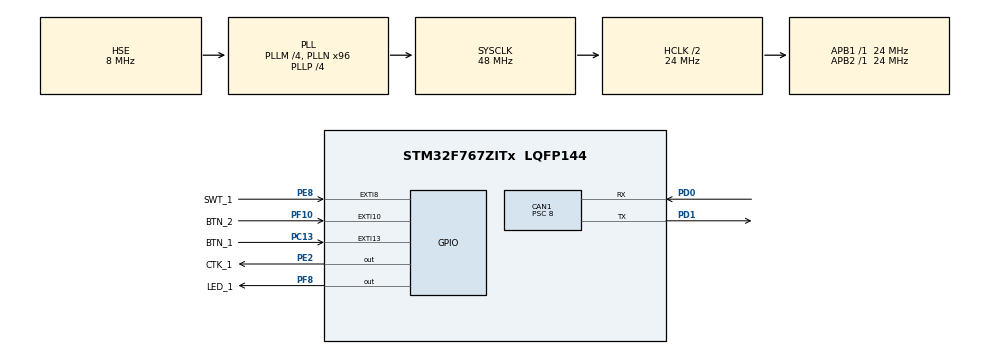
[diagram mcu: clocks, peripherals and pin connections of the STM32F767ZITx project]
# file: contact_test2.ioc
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CAN1.BS1=CAN_BS1_2TQ
CAN1.BS2=CAN_BS2_3TQ
CAN1.CalculateBaudRate=500000
CAN1.CalculateTimeBit=2000
CAN1.CalculateTimeQuantum=333.3333333333333
CAN1.Prescaler=8
CAN1.SJW=CAN_SJW_2TQ
CORTEX_M7.default_mode_Activation=1
Mcu.Family=STM32F7
Mcu.Name=STM32F767ZITx
Mcu.Package=LQFP144
NVIC.CAN1_RX0_IRQn=true\:0\:0\:false\:false\:true\:true\:true\:true
NVIC.EXTI15_10_IRQn=true\:0\:0\:false\:false\:true\:true\:true\:true
NVIC.EXTI9_5_IRQn=true\:0\:0\:false\:false\:true\:true\:true\:true
NVIC.PriorityGroup=NVIC_PRIORITYGROUP_4
PC13.GPIO_Label=BTN_1
PC13.GPIO_ModeDefaultEXTI=GPIO_MODE_IT_FALLING
PC13.GPIO_PuPd=GPIO_PULLUP
PC13.Signal=GPXTI13
PD0.GPIO_PuPd=GPIO_PULLUP
PD0.Mode=CAN_Activate
PD0.Signal=CAN1_RX
PD1.Mode=CAN_Activate
PD1.Signal=CAN1_TX
PE2.GPIO_Label=CTK_1
PE2.Signal=GPIO_Output
PE8.GPIO_Label=SWT_1
PE8.GPIO_ModeDefaultEXTI=GPIO_MODE_IT_RISING_FALLING
PE8.Signal=GPXTI8
PF10.GPIO_Label=BTN_2
PF10.GPIO_ModeDefaultEXTI=GPIO_MODE_IT_FALLING
PF10.GPIO_PuPd=GPIO_PULLUP
PF10.Signal=GPXTI10
PF8.GPIO_Label=LED_1
PF8.Signal=GPIO_Output
PH0/OSC_IN.Mode=HSE-External-Oscillator
PH0/OSC_IN.Signal=RCC_OSC_IN
PH1/OSC_OUT.Mode=HSE-External-Oscillator
PH1/OSC_OUT.Signal=RCC_OSC_OUT
ProjectManager.HeapSize=0x200
ProjectManager.StackSize=0x400
ProjectManager.TargetToolchain=STM32CubeIDE
RCC.AHBCLKDivider=RCC_SYSCLK_DIV2
RCC.AHBFreq_Value=24000000
RCC.APB1Freq_Value=24000000
RCC.APB1TimFreq_Value=24000000
RCC.APB2Freq_Value=24000000
RCC.APB2TimFreq_Value=24000000
RCC.CortexFreq_Value=24000000
RCC.HCLKFreq_Value=24000000
RCC.HSE_VALUE=8000000
RCC.HSI_VALUE=16000000
RCC.LSE_VALUE=32768
RCC.PLLM=4
RCC.PLLN=96
RCC.PLLP=RCC_PLLP_DIV4
RCC.PLLSourceVirtual=RCC_PLLSOURCE_HSE
RCC.SYSCLKFreq_VALUE=48000000
RCC.SYSCLKSource=RCC_SYSCLKSOURCE_PLLCLK
RCC.USBFreq_Value=96000000
RCC.VCOOutputFreq_Value=192000000
board=custom

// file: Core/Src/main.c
/* USER CODE BEGIN Header */
/**
  ******************************************************************************
  * @file           : main.c
  * @brief          : Main program body
  ******************************************************************************
  * @attention
  *
  * Copyright (c) 2024 STMicroelectronics.
  * All rights reserved.
  *
  * This software is licensed under terms that can be found in the LICENSE file
  * in the root directory of this software component.
  * If no LICENSE file comes with this software, it is provided AS-IS.
  *
  ******************************************************************************
  */
/* USER CODE END Header */
#include "main.h"

/* USER CODE BEGIN Includes */
#include <stdbool.h>
/* USER CODE END Includes */

CAN_HandleTypeDef hcan1;

/* USER CODE BEGIN PV */
uint32_t TxMailbox;
typedef union {
	struct {
		uint16_t ID;
		union {
			int32_t ival;
			float fval;
			bool bval;
		};
		uint16_t reserved;
	};
	uint8_t data[8];
} can_data_t;

/* USER CODE END PV */

void SystemClock_Config(void);
static void MPU_Config(void);
static void MX_GPIO_Init(void);
static void MX_CAN1_Init(void);

/* USER CODE BEGIN 0 */
void HAL_CAN_RxFifo0MsgPendingCallback(CAN_HandleTypeDef *hcan) {
	static can_data_t data;
	static CAN_RxHeaderTypeDef header;
	HAL_CAN_GetRxMessage(hcan, CAN_RX_FIFO0, &header, data.data);
	if (data.ID != 1) return;
	HAL_GPIO_WritePin(CTK_1_GPIO_Port, CTK_1_Pin, data.bval);
	HAL_GPIO_WritePin(LED_1_GPIO_Port, LED_1_Pin, data.bval);
}
/* USER CODE END 0 */

int main(void)
{

  /* MPU Configuration--------------------------------------------------------*/
  MPU_Config();

  /* MCU Configuration--------------------------------------------------------*/

  /* Reset of all peripherals, Initializes the Flash interface and the Systick. */
  HAL_Init();

  /* Configure the system clock */
  SystemClock_Config();

  /* Initialize all configured peripherals */
  MX_GPIO_Init();
  MX_CAN1_Init();
  /* USER CODE BEGIN 2 */
  HAL_CAN_Start(&hcan1);
  HAL_CAN_ActivateNotification(&hcan1, CAN_IT_RX_FIFO0_MSG_PENDING);
  /* USER CODE END 2 */

  /* Infinite loop */
  while (1)
  {

  }
}

void SystemClock_Config(void)
{
  RCC_OscInitTypeDef RCC_OscInitStruct = {0};
  RCC_ClkInitTypeDef RCC_ClkInitStruct = {0};

  /** Configure the main internal regulator output voltage
  */
  __HAL_RCC_PWR_CLK_ENABLE();
  __HAL_PWR_VOLTAGESCALING_CONFIG(PWR_REGULATOR_VOLTAGE_SCALE3);

  /** Initializes the RCC Oscillators according to the specified parameters
  * in the RCC_OscInitTypeDef structure.
  */
  RCC_OscInitStruct.OscillatorType = RCC_OSCILLATORTYPE_HSE;
  RCC_OscInitStruct.HSEState = RCC_HSE_ON;
  RCC_OscInitStruct.PLL.PLLState = RCC_PLL_ON;
  RCC_OscInitStruct.PLL.PLLSource = RCC_PLLSOURCE_HSE;
  RCC_OscInitStruct.PLL.PLLM = 4;
  RCC_OscInitStruct.PLL.PLLN = 96;
  RCC_OscInitStruct.PLL.PLLP = RCC_PLLP_DIV4;
  RCC_OscInitStruct.PLL.PLLQ = 2;
  RCC_OscInitStruct.PLL.PLLR = 2;
  if (HAL_RCC_OscConfig(&RCC_OscInitStruct) != HAL_OK)
  {
    Error_Handler();
  }

  /** Initializes the CPU, AHB and APB buses clocks
  */
  RCC_ClkInitStruct.ClockType = RCC_CLOCKTYPE_HCLK|RCC_CLOCKTYPE_SYSCLK
                              |RCC_CLOCKTYPE_PCLK1|RCC_CLOCKTYPE_PCLK2;
  RCC_ClkInitStruct.SYSCLKSource = RCC_SYSCLKSOURCE_PLLCLK;
  RCC_ClkInitStruct.AHBCLKDivider = RCC_SYSCLK_DIV2;
  RCC_ClkInitStruct.APB1CLKDivider = RCC_HCLK_DIV1;
  RCC_ClkInitStruct.APB2CLKDivider = RCC_HCLK_DIV1;

  if (HAL_RCC_ClockConfig(&RCC_ClkInitStruct, FLASH_LATENCY_0) != HAL_OK)
  {
    Error_Handler();
  }
}

static void MX_CAN1_Init(void)
{

  hcan1.Instance = CAN1;
  hcan1.Init.Prescaler = 8;
  hcan1.Init.Mode = CAN_MODE_NORMAL;
  hcan1.Init.SyncJumpWidth = CAN_SJW_2TQ;
  hcan1.Init.TimeSeg1 = CAN_BS1_2TQ;
  hcan1.Init.TimeSeg2 = CAN_BS2_3TQ;
  hcan1.Init.TimeTriggeredMode = DISABLE;
  hcan1.Init.AutoBusOff = DISABLE;
  hcan1.Init.AutoWakeUp = DISABLE;
  hcan1.Init.AutoRetransmission = DISABLE;
  hcan1.Init.ReceiveFifoLocked = DISABLE;
  hcan1.Init.TransmitFifoPriority = DISABLE;
  if (HAL_CAN_Init(&hcan1) != HAL_OK)
  {
    Error_Handler();
  }
  /* USER CODE BEGIN CAN1_Init 2 */
  CAN_FilterTypeDef canfilterconfig;

      canfilterconfig.FilterActivation = CAN_FILTER_ENABLE;
      canfilterconfig.FilterBank = 18;  // which filter bank to use from the assigned ones
      canfilterconfig.FilterFIFOAssignment = CAN_FILTER_FIFO0;
      canfilterconfig.FilterIdHigh = 0x001<<5;
      canfilterconfig.FilterIdLow = 0;
      canfilterconfig.FilterMaskIdHigh = 0x001<<5;
      canfilterconfig.FilterMaskIdLow = 0x0000;
      canfilterconfig.FilterMode = CAN_FILTERMODE_IDMASK;
      canfilterconfig.FilterScale = CAN_FILTERSCALE_32BIT;
      canfilterconfig.SlaveStartFilterBank = 20;  // how many filters to assign to the CAN1 (master can)

      HAL_CAN_ConfigFilter(&hcan1, &canfilterconfig);
  /* USER CODE END CAN1_Init 2 */

}

static void MX_GPIO_Init(void)
{
  GPIO_InitTypeDef GPIO_InitStruct = {0};

  /* GPIO Ports Clock Enable */
  __HAL_RCC_GPIOE_CLK_ENABLE();
  __HAL_RCC_GPIOC_CLK_ENABLE();
  __HAL_RCC_GPIOF_CLK_ENABLE();
  __HAL_RCC_GPIOH_CLK_ENABLE();
  __HAL_RCC_GPIOD_CLK_ENABLE();

  /*Configure GPIO pin Output Level */
  HAL_GPIO_WritePin(CTK_1_GPIO_Port, CTK_1_Pin, GPIO_PIN_RESET);

  /*Configure GPIO pin Output Level */
  HAL_GPIO_WritePin(LED_1_GPIO_Port, LED_1_Pin, GPIO_PIN_RESET);

  /*Configure GPIO pin : CTK_1_Pin */
  GPIO_InitStruct.Pin = CTK_1_Pin;
  GPIO_InitStruct.Mode = GPIO_MODE_OUTPUT_PP;
  GPIO_InitStruct.Pull = GPIO_NOPULL;
  GPIO_InitStruct.Speed = GPIO_SPEED_FREQ_LOW;
  HAL_GPIO_Init(CTK_1_GPIO_Port, &GPIO_InitStruct);

  /*Configure GPIO pin : BTN_1_Pin */
  GPIO_InitStruct.Pin = BTN_1_Pin;
  GPIO_InitStruct.Mode = GPIO_MODE_IT_FALLING;
  GPIO_InitStruct.Pull = GPIO_PULLUP;
  HAL_GPIO_Init(BTN_1_GPIO_Port, &GPIO_InitStruct);

  /*Configure GPIO pin : LED_1_Pin */
  GPIO_InitStruct.Pin = LED_1_Pin;
  GPIO_InitStruct.Mode = GPIO_MODE_OUTPUT_PP;
  GPIO_InitStruct.Pull = GPIO_NOPULL;
  GPIO_InitStruct.Speed = GPIO_SPEED_FREQ_LOW;
  HAL_GPIO_Init(LED_1_GPIO_Port, &GPIO_InitStruct);

  /*Configure GPIO pin : BTN_2_Pin */
  GPIO_InitStruct.Pin = BTN_2_Pin;
  GPIO_InitStruct.Mode = GPIO_MODE_IT_FALLING;
  GPIO_InitStruct.Pull = GPIO_PULLUP;
  HAL_GPIO_Init(BTN_2_GPIO_Port, &GPIO_InitStruct);

  /*Configure GPIO pin : SWT_1_Pin */
  GPIO_InitStruct.Pin = SWT_1_Pin;
  GPIO_InitStruct.Mode = GPIO_MODE_IT_RISING_FALLING;
  GPIO_InitStruct.Pull = GPIO_NOPULL;
  HAL_GPIO_Init(SWT_1_GPIO_Port, &GPIO_InitStruct);

  /* EXTI interrupt init*/
  HAL_NVIC_SetPriority(EXTI9_5_IRQn, 0, 0);
  HAL_NVIC_EnableIRQ(EXTI9_5_IRQn);

  HAL_NVIC_SetPriority(EXTI15_10_IRQn, 0, 0);
  HAL_NVIC_EnableIRQ(EXTI15_10_IRQn);

}

 /* MPU Configuration */

void MPU_Config(void)
{
  MPU_Region_InitTypeDef MPU_InitStruct = {0};

  /* Disables the MPU */
  HAL_MPU_Disable();

  /** Initializes and configures the Region and the memory to be protected
  */
  MPU_InitStruct.Enable = MPU_REGION_ENABLE;
  MPU_InitStruct.Number = MPU_REGION_NUMBER0;
  MPU_InitStruct.BaseAddress = 0x0;
  MPU_InitStruct.Size = MPU_REGION_SIZE_4GB;
  MPU_InitStruct.SubRegionDisable = 0x87;
  MPU_InitStruct.TypeExtField = MPU_TEX_LEVEL0;
  MPU_InitStruct.AccessPermission = MPU_REGION_NO_ACCESS;
  MPU_InitStruct.DisableExec = MPU_INSTRUCTION_ACCESS_DISABLE;
  MPU_InitStruct.IsShareable = MPU_ACCESS_SHAREABLE;
  MPU_InitStruct.IsCacheable = MPU_ACCESS_NOT_CACHEABLE;
  MPU_InitStruct.IsBufferable = MPU_ACCESS_NOT_BUFFERABLE;

  HAL_MPU_ConfigRegion(&MPU_InitStruct);
  /* Enables the MPU */
  HAL_MPU_Enable(MPU_PRIVILEGED_DEFAULT);

}

void Error_Handler(void)
{
  __disable_irq();
  while (1)
  {
  }
}
